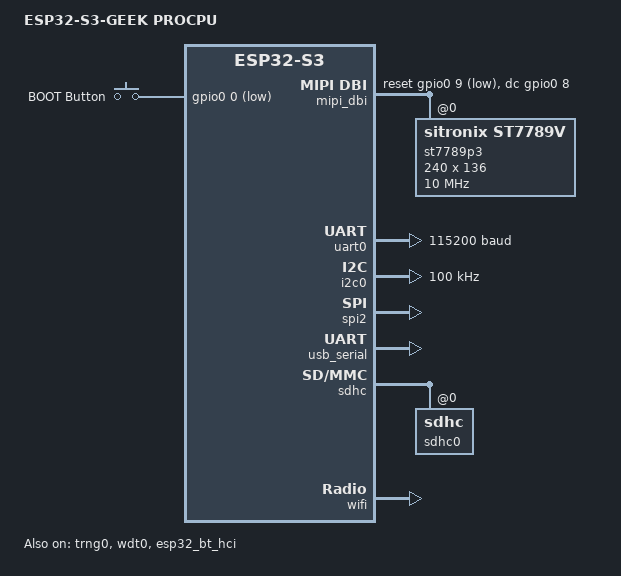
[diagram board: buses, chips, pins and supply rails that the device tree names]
/*
 * Copyright (c) 2024 Joel Guittet
 * Copyright (c) 2025 Chen Xingyu <hi@xingrz.me>
 * SPDX-License-Identifier: Apache-2.0
 */

/dts-v1/;
#include <espressif/esp32s3/esp32s3_r2.dtsi>
#include <espressif/partitions_0x0_amp_16M.dtsi>
#include <zephyr/dt-bindings/input/input-event-codes.h>
#include "esp32s3_geek-pinctrl.dtsi"

/ {
	model = "ESP32-S3-GEEK PROCPU";
	compatible = "waveshare,esp32-s3-geek";

	aliases {
		sw0 = &button0;
		watchdog0 = &wdt0;
		sdhc0 = &sdhc0;
	};

	chosen {
		zephyr,sram = &sram1;
		zephyr,console = &usb_serial;
		zephyr,shell-uart = &usb_serial;
		zephyr,flash = &flash0;
		zephyr,code-partition = &slot0_partition;
		zephyr,display = &st7789p3;
		zephyr,bt-hci = &esp32_bt_hci;
	};

	buttons {
		compatible = "gpio-keys";

		button0: button_0 {
			gpios = <&gpio0 0 (GPIO_PULL_UP | GPIO_ACTIVE_LOW)>;
			label = "BOOT Button";
			zephyr,code = <INPUT_KEY_0>;
		};
	};

	mipi_dbi {
		compatible = "zephyr,mipi-dbi-spi";
		spi-dev = <&spi2>;
		dc-gpios = <&gpio0 8 GPIO_ACTIVE_HIGH>;
		reset-gpios = <&gpio0 9 GPIO_ACTIVE_LOW>;
		write-only;
		#address-cells = <1>;
		#size-cells = <0>;

		st7789p3: st7789p3@0 {
			compatible = "sitronix,st7789v";
			mipi-max-frequency = <DT_FREQ_M(10)>;
			mipi-mode = "MIPI_DBI_MODE_SPI_4WIRE";
			reg = <0>;
			width = <240>;
			height = <136>;
			x-offset = <40>;
			y-offset = <52>;
			vcom = <0x19>;
			gctrl = <0x35>;
			vrhs = <0x12>;
			vdvs = <0x20>;
			mdac = <0x70>;
			lcm = <0x2c>;
			colmod = <0x05>;
			gamma = <0x01>;
			porch-param = [0c 0c 00 33 33];
			cmd2en-param = [5a 69 02 01];
			pwctrl1-param = [a4 a1];
			pvgam-param = [d0 04 0d 11 13 2b 3f 54 4c 18 0d 0b 1f 23];
			nvgam-param = [d0 04 0c 11 13 2c 3f 44 51 2f 1f 1f 20 23];
			ram-param = [00 f0];
			rgb-param = [cd 08 14];
		};
	};
};

&flash0 {
	reg = <0x0 DT_SIZE_M(16)>;
};

&gpio0 {
	status = "okay";
};

&gpio1 {
	status = "okay";
};

&uart0 {
	status = "okay";
	current-speed = <115200>;
	pinctrl-0 = <&uart0_default>;
	pinctrl-names = "default";
};

&i2c0 {
	status = "okay";
	clock-frequency = <I2C_BITRATE_STANDARD>;
	pinctrl-0 = <&i2c0_default>;
	pinctrl-names = "default";
};

&spi2 {
	status = "okay";
	#address-cells = <1>;
	#size-cells = <0>;
	pinctrl-0 = <&spim2_default>;
	pinctrl-names = "default";
};

&usb_serial {
	status = "okay";
};

zephyr_udc0: &usb_otg {};

&sdhc {
	sdhc0: sdhc@0 {
		status = "okay";
		pinctrl-0 = <&sdhc0_default>;
		pinctrl-names = "default";
		max-bus-freq = <DT_FREQ_M(40)>;
		bus-width = <4>;

		mmc {
			compatible = "zephyr,sdmmc-disk";
			disk-name = "SD";
			status = "okay";
		};
	};
};

&trng0 {
	status = "okay";
};

&wdt0 {
	status = "okay";
};

&wifi {
	status = "okay";
};

&esp32_bt_hci {
	status = "okay";
};
